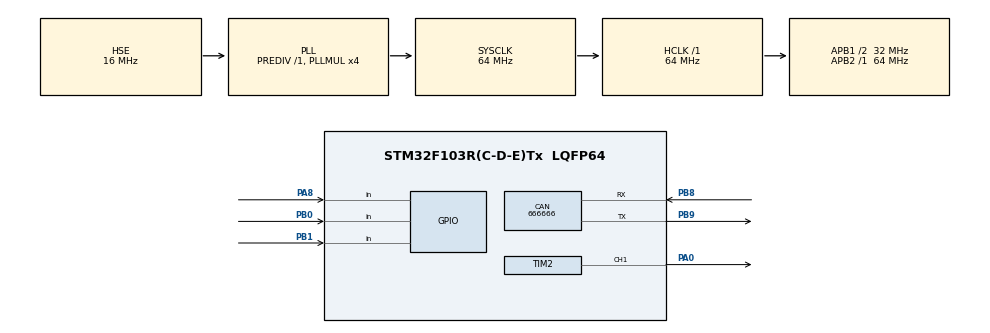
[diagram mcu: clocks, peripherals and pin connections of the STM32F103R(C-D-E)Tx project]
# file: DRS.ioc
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CAN.BS1=CAN_BS1_1TQ
CAN.BS2=CAN_BS2_1TQ
CAN.CalculateBaudRate=666666
CAN.CalculateTimeBit=1500
CAN.CalculateTimeQuantum=500.0
Mcu.Family=STM32F1
Mcu.Name=STM32F103R(C-D-E)Tx
Mcu.Package=LQFP64
NVIC.PriorityGroup=NVIC_PRIORITYGROUP_4
PA0-WKUP.Signal=S_TIM2_CH1_ETR
PA10.Signal=USART1_RX
PA13.Mode=Trace_Asynchronous_SW
PA13.Signal=SYS_JTMS-SWDIO
PA14.Mode=Trace_Asynchronous_SW
PA14.Signal=SYS_JTCK-SWCLK
PA8.GPIO_PuPd=GPIO_PULLDOWN
PA8.Signal=GPIO_Input
PA9.Signal=USART1_TX
PB0.Signal=GPIO_Input
PB1.Signal=GPIO_Input
PB3.Mode=Trace_Asynchronous_SW
PB3.Signal=SYS_JTDO-TRACESWO
PB8.Mode=CAN_Activate
PB8.Signal=CAN_RX
PB9.Mode=CAN_Activate
PB9.Signal=CAN_TX
PD0-OSC_IN.Mode=HSE-External-Oscillator
PD0-OSC_IN.Signal=RCC_OSC_IN
PD1-OSC_OUT.Mode=HSE-External-Oscillator
PD1-OSC_OUT.Signal=RCC_OSC_OUT
ProjectManager.HeapSize=0x200
ProjectManager.StackSize=0x400
ProjectManager.TargetToolchain=STM32CubeIDE
RCC.AHBFreq_Value=64000000
RCC.APB1CLKDivider=RCC_HCLK_DIV2
RCC.APB1Freq_Value=32000000
RCC.APB1TimFreq_Value=64000000
RCC.APB2Freq_Value=64000000
RCC.APB2TimFreq_Value=64000000
RCC.HCLKFreq_Value=64000000
RCC.HSE_VALUE=16000000
RCC.PLLMUL=RCC_PLL_MUL4
RCC.PLLSourceVirtual=RCC_PLLSOURCE_HSE
RCC.SYSCLKFreq_VALUE=64000000
RCC.SYSCLKSource=RCC_SYSCLKSOURCE_PLLCLK
RCC.USBFreq_Value=64000000
SH.S_TIM2_CH1_ETR.0=TIM2_CH1,PWM Generation1 CH1
TIM2.Channel-PWM\ Generation1\ CH1=TIM_CHANNEL_1
TIM2.Period=65535
TIM2.Prescaler=15
VP_TIM2_VS_ClockSourceINT.Mode=Internal
board=custom

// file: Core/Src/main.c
/* USER CODE BEGIN Header */
/**
  ******************************************************************************
  * @file           : main.c
  * @brief          : Main program body
  ******************************************************************************
  * @attention
  *
  * Copyright (c) 2026 STMicroelectronics.
  * All rights reserved.
  *
  * This software is licensed under terms that can be found in the LICENSE file
  * in the root directory of this software component.
  * If no LICENSE file comes with this software, it is provided AS-IS.
  *
  ******************************************************************************
  */
/* USER CODE END Header */
#include "main.h"

/* USER CODE BEGIN Includes */
#include <stdbool.h>
#include <math.h>
#include "logic.h"
/* USER CODE END Includes */

/* USER CODE BEGIN PD */
#define BTN_REG GPIOB
#define MANUAL_BTN GPIO_PIN_0
#define ON_BTN GPIO_PIN_1

// TODO: maybe do a nicer macro later if needed? prolly won't need it tho
#define CCRMIN 2000
#define CCRMAX 10000
/* USER CODE END PD */

CAN_HandleTypeDef hcan;

TIM_HandleTypeDef htim2;

/* USER CODE BEGIN PV */

MODE mode = MANUAL;
DRS_STATUS drs_stat = OFF;

/* USER CODE END PV */

void SystemClock_Config(void);
static void MX_GPIO_Init(void);
static void MX_CAN_Init(void);
static void MX_TIM2_Init(void);

/* USER CODE BEGIN 0 */
MODE toggle(MODE m) {
	switch (m) {
		case AUTO:    return MANUAL;
		case MANUAL:  return AUTO;
		default:      return MANUAL;   // if we got here somehow, something's fucked
	}
}

int degreeToCCR(int d) {
	int ARRchunksize = CCRMAX / CCRMIN;  // int div. on purpose
	float frac = d / 360.0;
	return (int)(2000 + (8000 * (frac)));
}

void setServoAngle(int d) {
	TIM2->CCR1 = degreeToCCR(d);
}

void servoRotation() {
	for (int i = 0; i < 360; i+=1) {
		setServoAngle(i);
		HAL_Delay(100);
	}
}

/* USER CODE END 0 */

int main(void)
{

  /* MCU Configuration--------------------------------------------------------*/

  /* Reset of all peripherals, Initializes the Flash interface and the Systick. */
  HAL_Init();

  /* Configure the system clock */
  SystemClock_Config();

  /* Initialize all configured peripherals */
  MX_GPIO_Init();
  MX_CAN_Init();
  MX_TIM2_Init();
  /* USER CODE BEGIN 2 */
//  HAL_TIM_Base_Start(&htim2);  // for DRS timer logic
  HAL_TIM_PWM_Start(&htim2, TIM_CHANNEL_1);
  /* USER CODE END 2 */

  /* Infinite loop */
  /* USER CODE BEGIN WHILE */
  while (1)
  {
//	  TIM2->CCR1 = 2000;
//	  HAL_Delay(1000);
//	  TIM2->CCR1 = 4000;
//	  HAL_Delay(1000);
//	  TIM2->CCR1 = 6000;
//	  HAL_Delay(1000);
//	  TIM2->CCR1 = 8000;
//	  HAL_Delay(1000);
//	  TIM2->CCR1 = 10000;
//	  HAL_Delay(1000);

//	  servoRotation();

	  if (!HAL_GPIO_ReadPin(GPIOA, GPIO_PIN_8)) {
		  setServoAngle(30);
	  } else {
		  setServoAngle(43);
	  }

//
//	  // initialize all the variables we need to track for AUTO DRS
//	  float steeringAngle = 0.0;
//	  float latG = 0.0;
//	  float brakeInputPercentage = 0.0;
//	  float cooldown = 0.0;
//
//	  // check if the mode-switch button was pressed
//	  if (!HAL_GPIO_ReadPin(BTN_REG, MANUAL_BTN)) {
//		  mode = toggle(mode);  // swap DRS modes
//	  }
//
//	  // handle drs depending on the mode
//	  if (mode == MANUAL){  // in manual mode...
//		  // check if drs is toggled
//		  if (!HAL_GPIO_ReadPin(BTN_REG, ON_BTN) ){
//			  drs_stat = toggle((int)drs_stat);
//		  }
//	  }
//	  else if (mode == AUTO) {  // in automatic mode...
//		  drs_stat = shouldActivateDRS(steeringAngle, latG, brakeInputPercentage, cooldown);
//	  }
//	  else {;}  /* should not be reached */

    /* USER CODE END WHILE */

  }
}

void SystemClock_Config(void)
{
  RCC_OscInitTypeDef RCC_OscInitStruct = {0};
  RCC_ClkInitTypeDef RCC_ClkInitStruct = {0};

  /** Initializes the RCC Oscillators according to the specified parameters
  * in the RCC_OscInitTypeDef structure.
  */
  RCC_OscInitStruct.OscillatorType = RCC_OSCILLATORTYPE_HSE;
  RCC_OscInitStruct.HSEState = RCC_HSE_ON;
  RCC_OscInitStruct.HSEPredivValue = RCC_HSE_PREDIV_DIV1;
  RCC_OscInitStruct.HSIState = RCC_HSI_ON;
  RCC_OscInitStruct.PLL.PLLState = RCC_PLL_ON;
  RCC_OscInitStruct.PLL.PLLSource = RCC_PLLSOURCE_HSE;
  RCC_OscInitStruct.PLL.PLLMUL = RCC_PLL_MUL4;
  if (HAL_RCC_OscConfig(&RCC_OscInitStruct) != HAL_OK)
  {
    Error_Handler();
  }

  /** Initializes the CPU, AHB and APB buses clocks
  */
  RCC_ClkInitStruct.ClockType = RCC_CLOCKTYPE_HCLK|RCC_CLOCKTYPE_SYSCLK
                              |RCC_CLOCKTYPE_PCLK1|RCC_CLOCKTYPE_PCLK2;
  RCC_ClkInitStruct.SYSCLKSource = RCC_SYSCLKSOURCE_PLLCLK;
  RCC_ClkInitStruct.AHBCLKDivider = RCC_SYSCLK_DIV1;
  RCC_ClkInitStruct.APB1CLKDivider = RCC_HCLK_DIV2;
  RCC_ClkInitStruct.APB2CLKDivider = RCC_HCLK_DIV1;

  if (HAL_RCC_ClockConfig(&RCC_ClkInitStruct, FLASH_LATENCY_2) != HAL_OK)
  {
    Error_Handler();
  }
}

static void MX_CAN_Init(void)
{

  hcan.Instance = CAN1;
  hcan.Init.Prescaler = 16;
  hcan.Init.Mode = CAN_MODE_NORMAL;
  hcan.Init.SyncJumpWidth = CAN_SJW_1TQ;
  hcan.Init.TimeSeg1 = CAN_BS1_1TQ;
  hcan.Init.TimeSeg2 = CAN_BS2_1TQ;
  hcan.Init.TimeTriggeredMode = DISABLE;
  hcan.Init.AutoBusOff = DISABLE;
  hcan.Init.AutoWakeUp = DISABLE;
  hcan.Init.AutoRetransmission = DISABLE;
  hcan.Init.ReceiveFifoLocked = DISABLE;
  hcan.Init.TransmitFifoPriority = DISABLE;
  if (HAL_CAN_Init(&hcan) != HAL_OK)
  {
    Error_Handler();
  }

}

static void MX_TIM2_Init(void)
{

  TIM_ClockConfigTypeDef sClockSourceConfig = {0};
  TIM_MasterConfigTypeDef sMasterConfig = {0};
  TIM_OC_InitTypeDef sConfigOC = {0};

  htim2.Instance = TIM2;
  htim2.Init.Prescaler = 15;
  htim2.Init.CounterMode = TIM_COUNTERMODE_UP;
  htim2.Init.Period = 65535;
  htim2.Init.ClockDivision = TIM_CLOCKDIVISION_DIV1;
  htim2.Init.AutoReloadPreload = TIM_AUTORELOAD_PRELOAD_DISABLE;
  if (HAL_TIM_Base_Init(&htim2) != HAL_OK)
  {
    Error_Handler();
  }
  sClockSourceConfig.ClockSource = TIM_CLOCKSOURCE_INTERNAL;
  if (HAL_TIM_ConfigClockSource(&htim2, &sClockSourceConfig) != HAL_OK)
  {
    Error_Handler();
  }
  if (HAL_TIM_PWM_Init(&htim2) != HAL_OK)
  {
    Error_Handler();
  }
  sMasterConfig.MasterOutputTrigger = TIM_TRGO_RESET;
  sMasterConfig.MasterSlaveMode = TIM_MASTERSLAVEMODE_DISABLE;
  if (HAL_TIMEx_MasterConfigSynchronization(&htim2, &sMasterConfig) != HAL_OK)
  {
    Error_Handler();
  }
  sConfigOC.OCMode = TIM_OCMODE_PWM1;
  sConfigOC.Pulse = 0;
  sConfigOC.OCPolarity = TIM_OCPOLARITY_HIGH;
  sConfigOC.OCFastMode = TIM_OCFAST_DISABLE;
  if (HAL_TIM_PWM_ConfigChannel(&htim2, &sConfigOC, TIM_CHANNEL_1) != HAL_OK)
  {
    Error_Handler();
  }
  HAL_TIM_MspPostInit(&htim2);

}

static void MX_GPIO_Init(void)
{
  GPIO_InitTypeDef GPIO_InitStruct = {0};

  /* GPIO Ports Clock Enable */
  __HAL_RCC_GPIOD_CLK_ENABLE();
  __HAL_RCC_GPIOA_CLK_ENABLE();
  __HAL_RCC_GPIOB_CLK_ENABLE();

  /*Configure GPIO pins : PB0 PB1 */
  GPIO_InitStruct.Pin = GPIO_PIN_0|GPIO_PIN_1;
  GPIO_InitStruct.Mode = GPIO_MODE_INPUT;
  GPIO_InitStruct.Pull = GPIO_NOPULL;
  HAL_GPIO_Init(GPIOB, &GPIO_InitStruct);

  /*Configure GPIO pin : PA8 */
  GPIO_InitStruct.Pin = GPIO_PIN_8;
  GPIO_InitStruct.Mode = GPIO_MODE_INPUT;
  GPIO_InitStruct.Pull = GPIO_PULLDOWN;
  HAL_GPIO_Init(GPIOA, &GPIO_InitStruct);

  /*Configure GPIO pin : PA9 */
  GPIO_InitStruct.Pin = GPIO_PIN_9;
  GPIO_InitStruct.Mode = GPIO_MODE_AF_PP;
  GPIO_InitStruct.Speed = GPIO_SPEED_FREQ_HIGH;
  HAL_GPIO_Init(GPIOA, &GPIO_InitStruct);

  /*Configure GPIO pin : PA10 */
  GPIO_InitStruct.Pin = GPIO_PIN_10;
  GPIO_InitStruct.Mode = GPIO_MODE_INPUT;
  GPIO_InitStruct.Pull = GPIO_NOPULL;
  HAL_GPIO_Init(GPIOA, &GPIO_InitStruct);

}

void Error_Handler(void)
{
  __disable_irq();
  while (1)
  {
  }
}
